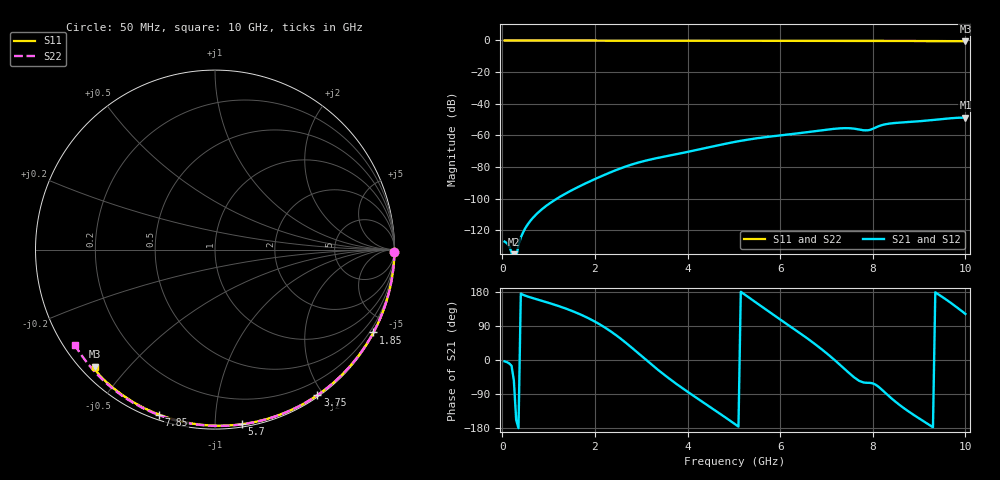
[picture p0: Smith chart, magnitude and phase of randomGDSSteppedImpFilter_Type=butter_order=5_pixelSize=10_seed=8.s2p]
! freq	dB(S11)	phase(S11)	dB(S12)	phase(S12)
!  dB(S21)	phase(S21)	dB(S22)	phase(S22)
!S-par simulation data
#  GHz  S  DB  R 50
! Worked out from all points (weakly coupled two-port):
!   200 points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, 50 MHz to 10 GHz, reference 50 ohm
!   highest |S21| = -48.75 dB at 10 GHz (marker M1); lowest = -141.8 dB at 250 MHz (marker M2)
!   lowest |S11| = -0.6 dB at 10 GHz (marker M3), VSWR 30.10, Z = 1.93 - j20.3 ohm
!   |S11| at or under -10 dB: nowhere
!   |S22| runs from -0.5 to 0.0 dB; largest |S21 - S12| = 0
!   S11 on the Smith chart (normalised r, x): 50 MHz: open; 1.85 GHz: 0.04, -4.07; 3.75 GHz: 0.02, -1.93; 5.7 GHz: 0.02, -1.16; 7.85 GHz: 0.02, -0.72; 10 GHz: 0.04, -0.41
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0.05  -0.00 -0.8  -127.12 -3.5  -127.12 -3.5  -0.00 -0.8
0.25  -0.00 -3.8  -141.77 -54.3  -141.77 -54.3  -0.01 -4.1
1  -0.02 -15.0  -103.42 150.8  -103.42 150.8  -0.02 -16.2
1.75  -0.03 -26.2  -91.00 116.7  -91.00 116.7  -0.04 -28.1
1.85  -0.04 -27.6  -89.61 110.9  -89.61 110.9  -0.04 -29.7
2.65  -0.05 -39.3  -79.81 47.2  -79.81 47.2  -0.05 -42.2
3  -0.06 -44.3  -76.66 11.2  -76.66 11.2  -0.06 -47.6
3.4  -0.07 -50.0  -73.97 -29.7  -73.97 -29.7  -0.07 -53.7
3.75  -0.07 -54.9  -71.92 -62.2  -71.92 -62.2  -0.08 -58.9
4.4  -0.09 -63.9  -67.91 -116.9  -67.91 -116.9  -0.10 -68.6
5.05  -0.11 -72.7  -63.96 -171.4  -63.96 -171.4  -0.12 -78.0
5.7  -0.14 -81.3  -61.04 132.5  -61.04 132.5  -0.15 -87.3
6.7  -0.18 -94.2  -57.52 46.8  -57.52 46.8  -0.20 -101.2
7.15  -0.21 -99.9  -55.89 2.7  -55.89 2.7  -0.23 -107.3
7.4  -0.23 -103.1  -55.42 -24.6  -55.42 -24.6  -0.24 -110.7
7.6  -0.24 -105.6  -55.73 -46.0  -55.73 -46.0  -0.26 -113.4
7.85  -0.26 -108.7  -56.80 -60.0  -56.80 -60.0  -0.28 -116.8
7.95  -0.26 -109.9  -56.41 -60.4  -56.41 -60.4  -0.29 -118.2
8.15  -0.28 -112.4  -53.94 -73.3  -53.94 -73.3  -0.30 -120.9
8.35  -0.30 -114.9  -52.57 -95.5  -52.57 -95.5  -0.32 -123.6
9.35  -0.39 -127.2  -50.12 178.6  -50.12 178.6  -0.42 -137.0
10  -0.58 -135.8  -48.75 121.6  -48.75 121.6  -0.50 -145.9
